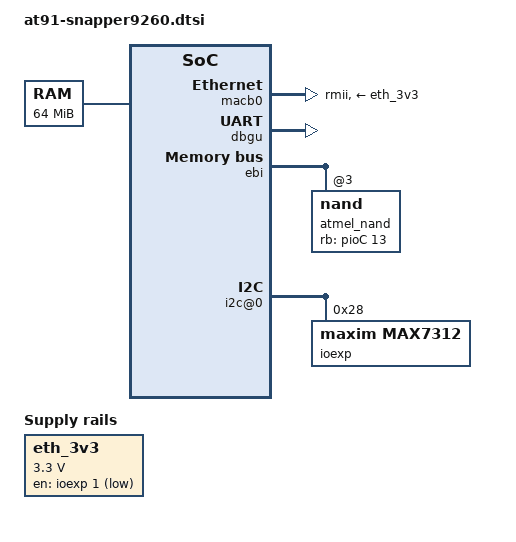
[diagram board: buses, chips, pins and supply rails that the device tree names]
// SPDX-License-Identifier: GPL-2.0+
/*
 * Common parts of the Bluewater Systems Snapper 9260 and 9G20 modules
 *
 * Copyright 2026 Simon Glass <sjg@chromium.org>
 */

/ {
	chosen {
		bootph-all;
		stdout-path = &dbgu;
	};

	memory {
		reg = <0x20000000 0x4000000>;
	};

	/* The expander switches the power to the Ethernet PHY, active low */
	eth_3v3: regulator-eth {
		compatible = "regulator-fixed";
		regulator-name = "eth-3v3";
		regulator-min-microvolt = <3300000>;
		regulator-max-microvolt = <3300000>;
		gpio = <&ioexp 1 GPIO_ACTIVE_LOW>;
	};

	clocks {
		slow_xtal {
			clock-frequency = <32768>;
		};

		main_xtal {
			clock-frequency = <18432000>;
		};
	};

	ahb {
		apb {
			macb0: ethernet@fffc4000 {
				phy-mode = "rmii";
				phy-supply = <&eth_3v3>;
				status = "okay";
			};

			dbgu: serial@fffff200 {
				bootph-all;
				status = "okay";
			};
		};

		ebi: ebi@10000000 {
			status = "okay";

			nand_controller: nand-controller {
				pinctrl-names = "default";
				pinctrl-0 = <&pinctrl_nand>;
				status = "okay";

				nand@3 {
					reg = <0x3 0x0 0x800000>;
					rb-gpios = <&pioC 13 GPIO_ACTIVE_HIGH>;
					cs-gpios = <&pioC 14 GPIO_ACTIVE_HIGH>;
					nand-bus-width = <8>;
					nand-ecc-mode = "soft";
					label = "atmel_nand";
				};
			};
		};
	};

	i2c@0 {
		status = "okay";

		ioexp: gpio@28 {
			compatible = "maxim,max7312";
			reg = <0x28>;
			gpio-controller;
			#gpio-cells = <2>;
		};
	};
};
